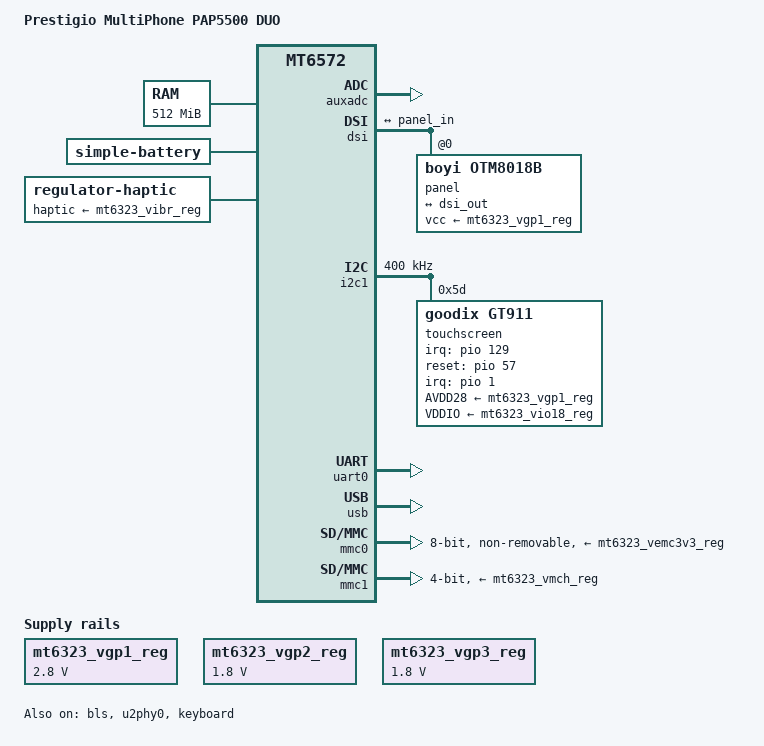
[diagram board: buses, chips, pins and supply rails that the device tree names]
// SPDX-License-Identifier: GPL-2.0
/*
 * Copyright (c) 2026 Custom Firmware <gabin278@gmail.com>
 */

/dts-v1/;
#include <dt-bindings/gpio/gpio.h>
#include <dt-bindings/input/input.h>
#include "mt6572.dtsi"
#include "mt6323.dtsi"

/ {
	model = "Prestigio MultiPhone PAP5500 DUO";
	compatible = "prestigio,pap5500-duo", "mediatek,mt6572";

	aliases {
		serial0 = &uart0;
	};

	chosen {
		stdout-path = "serial0:921600n8";
	};

	memory@80000000 {
		device_type = "memory";
		reg = <0x80000000 0x20000000>;
	};

	reserved-memory {
		#address-cells = <1>;
		#size-cells = <1>;
		ranges;

		framebuffer_reserved: framebuffer@9f800000 {
			reg = <0x9f800000 0x800000>;
			no-map;
		};
	};

	battery: battery {
		compatible = "simple-battery";
		charge-full-design-microamp-hours = <2000000>;
		voltage-max-design-microvolt = <4200000>;
		voltage-min-design-microvolt = <3300000>;
		ocv-capacity-celsius = <25>;
		ocv-capacity-table-0 = <4189000 100>, <4107000  95>,
				       <4063000  90>, <4018000  85>,
				       <3975000  80>, <3937000  75>,
				       <3907000  70>, <3871000  65>,
				       <3843000  60>, <3810000  55>,
				       <3787000  50>, <3781000  45>,
				       <3777000  40>, <3772000  35>,
				       <3753000  30>, <3719000  25>,
				       <3671000  20>, <3596000  15>,
				       <3536000  10>, <3493000   5>,
				       <3419000   0>;
	};

	haptic {
		compatible = "regulator-haptic";
		haptic-supply = <&mt6323_vibr_reg>;
		min-microvolt = <1200000>;
		max-microvolt = <3300000>;
	};
};

&auxadc {
	status = "okay";
};

&bls {
	status = "okay";
};

&dsi {
	#address-cells = <1>;
	#size-cells = <0>;
	status = "okay";

	panel@0 {
		compatible = "boyi,otm8018b";
		reg = <0>;
		vcc-supply = <&mt6323_vgp1_reg>;

		port {
			panel_in: endpoint {
				remote-endpoint = <&dsi_out>;
			};
		};
	};

	port {
		dsi_out: endpoint {
			remote-endpoint = <&panel_in>;
		};
	};
};

&cpu0 {
	proc-supply = <&mt6323_vproc_reg>;
};

&cpu1 {
	proc-supply = <&mt6323_vproc_reg>;
};

&i2c1 {
	pinctrl-0 = <&i2c1_pins>;
	pinctrl-names = "default";
	clock-frequency = <400000>;
	status = "okay";

	touchscreen@5d {
		status = "okay";
		compatible = "goodix,gt911";
		reg = <0x5d>;

		interrupt-parent = <&pio>;
		interrupts = <1 IRQ_TYPE_EDGE_RISING>;
		irq-gpios = <&pio 129 GPIO_ACTIVE_HIGH>;
		reset-gpios = <&pio 57 GPIO_ACTIVE_HIGH>;

		AVDD28-supply = <&mt6323_vgp1_reg>;
		VDDIO-supply = <&mt6323_vio18_reg>;

		touchscreen-size-x = <480>;
		touchscreen-size-y = <854>;
		touchscreen-inverted-x;

		pinctrl-0 = <&tpd_pins>;
		pinctrl-names = "default";
	};
};

&mt6323_vgp1_reg {
	regulator-min-microvolt = <2800000>;
	regulator-max-microvolt = <2800000>;
};

&mt6323_vgp2_reg {
	regulator-min-microvolt = <1800000>;
	regulator-max-microvolt = <1800000>;
	regulator-always-on;
	regulator-boot-on;
};

&mt6323_vgp3_reg {
	regulator-min-microvolt = <1800000>;
	regulator-max-microvolt = <1800000>;
	regulator-always-on;
	regulator-boot-on;
};

&uart0 {
	status = "okay";
};

&usb {
	status = "okay";
};

&u2phy0 {
	status = "okay";
};

&pmic {
	pinctrl-0 = <&pmic_int_pins>;
	pinctrl-names = "default";
	interrupts = <16 IRQ_TYPE_LEVEL_HIGH>;
};

&pwrap {
	assigned-clocks = <&topckgen CLK_TOP_PMIC_SPI_SEL>;
	assigned-clock-parents = <&uart_clk>;
};

&mmc0 {
	pinctrl-0 = <&mmc0_pins>;
	pinctrl-1 = <&mmc0_pins>;
	pinctrl-names = "default", "state_uhs";
	bus-width = <8>;
	max-frequency = <50000000>;
	cap-mmc-highspeed;
	vmmc-supply = <&mt6323_vemc3v3_reg>;
	vqmmc-supply = <&mt6323_vio18_reg>;
	non-removable;
	status = "okay";
};

&mmc1 {
	pinctrl-0 = <&mmc1_pins>;
	pinctrl-1 = <&mmc1_pins>;
	pinctrl-names = "default", "state_uhs";
	bus-width = <4>;
	max-frequency = <50000000>;
	cap-sd-highspeed;
	sd-uhs-sdr12;
	sd-uhs-sdr25;
	vmmc-supply = <&mt6323_vmch_reg>;
	vqmmc-supply = <&mt6323_vmc_reg>;
	broken-cd;
	status = "okay";
};

&mt6323keys {
	home {
		status = "disabled";
	};
};

&keyboard {
	status = "okay";
	linux,keymap = <MATRIX_KEY(0, 0, KEY_VOLUMEUP)
			MATRIX_KEY(1, 0, KEY_VOLUMEDOWN)>;
	keypad,num-rows = <2>;
	keypad,num-columns = <1>;
	debounce-delay-ms = <32>;
};

&pio {
	pmic_int_pins: pmic-int-pins {
		pins {
			pinmux = <MT6572_PIN_7_PMIC_EINT__FUNC_PMIC_EINT>;
			input-enable;
			bias-pull-down;
		};
	};

	pwrap_pins: pwrap-pins {
		pins {
			pinmux = <MT6572_PIN_8_PMIC_SPI_CSN__FUNC_PMIC_SPI_CSN>,
				 <MT6572_PIN_9_PMIC_SPI_SCK__FUNC_PMIC_SPI_SCK>,
				 <MT6572_PIN_10_PMIC_SPI_MOSI__FUNC_PMIC_SPI_MOSI>,
				 <MT6572_PIN_11_PMIC_SPI_MISO__FUNC_PMIC_SPI_MISO>;
		};
	};

	mmc0_pins: mmc0-pins {
		pins-clk {
			pinmux = <MT6572_PIN_44_MC0_CK__FUNC_MC0_CK>;
			bias-pull-down = <MTK_PUPD_SET_R1R0_10>;
		};

		pins-cmd-dat {
			pinmux = <MT6572_PIN_45_MC0_CMD__FUNC_MC0_CMD>,
				 <MT6572_PIN_46_MC0_DAT0__FUNC_MC0_DAT0>,
				 <MT6572_PIN_47_MC0_DAT1__FUNC_MC0_DAT1>,
				 <MT6572_PIN_48_MC0_DAT2__FUNC_MC0_DAT2>,
				 <MT6572_PIN_49_MC0_DAT3__FUNC_MC0_DAT3>,
				 <MT6572_PIN_50_MC0_DAT4__FUNC_MC0_DAT4>,
				 <MT6572_PIN_51_MC0_DAT5__FUNC_MC0_DAT5>,
				 <MT6572_PIN_52_MC0_DAT6__FUNC_MC0_DAT6>,
				 <MT6572_PIN_53_MC0_DAT7__FUNC_MC0_DAT7>;
			input-enable;
			bias-pull-up = <MTK_PUPD_SET_R1R0_01>;
		};

		pins-rst {
			pinmux = <MT6572_PIN_54_MC0_RSTB__FUNC_MC0_RSTB>;
			bias-pull-up = <MTK_PUPD_SET_R1R0_10>;
		};
	};

	tpd_pins: tpd-pins {
		pins-rst {
			pinmux = <MT6572_PIN_57_SD_DAT2__FUNC_GPIO57>;
			output-high;
		};
		pins-int {
			pinmux = <MT6572_PIN_129_PWM2__FUNC_EINT1>;
			input-enable;
			bias-pull-up;
		};
	};

	i2c1_pins: i2c1-pins {
		pins {
			pinmux = <MT6572_PIN_113_SCL_1_0__FUNC_SCL_1_0>,
				 <MT6572_PIN_114_SDA_1_0__FUNC_SDA_1_0>;
		};
	};

	mmc1_pins: mmc1-pins {
		pins-clk {
			pinmux = <MT6572_PIN_91_MC1_CK__FUNC_MC1_CK>;
			bias-pull-down;
			drive-strength = <8>;
		};

		pins-cmd-dat {
			pinmux = <MT6572_PIN_92_MC1_CMD__FUNC_MC1_CMD>,
				 <MT6572_PIN_93_MC1_DAT0__FUNC_MC1_DAT0>,
				 <MT6572_PIN_94_MC1_DAT1__FUNC_MC1_DAT1>,
				 <MT6572_PIN_95_MC1_DAT2__FUNC_MC1_DAT2>,
				 <MT6572_PIN_96_MC1_DAT3__FUNC_MC1_DAT3>;
			input-enable;
			bias-pull-up;
			drive-strength = <8>;
		};
	};
};
